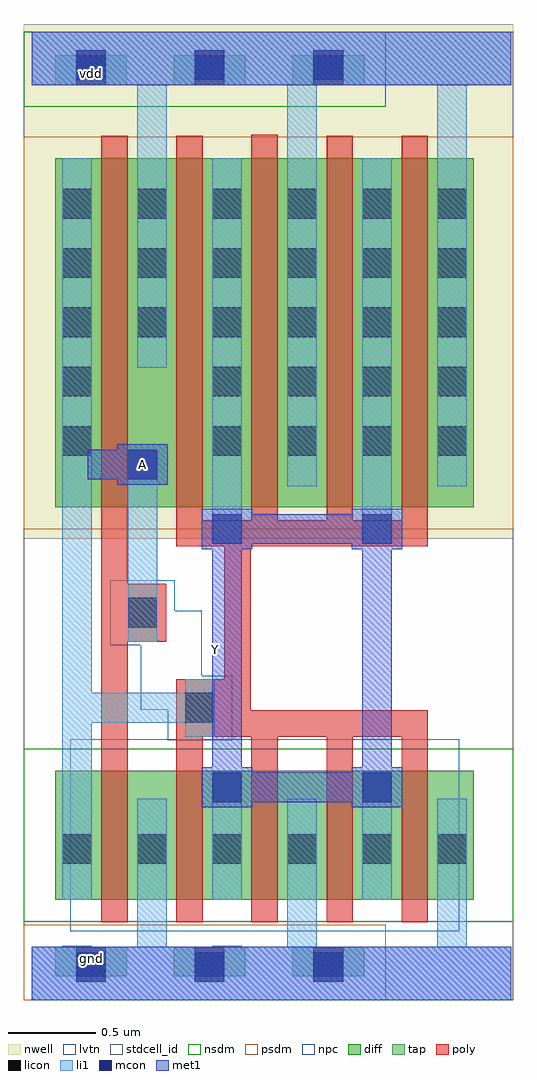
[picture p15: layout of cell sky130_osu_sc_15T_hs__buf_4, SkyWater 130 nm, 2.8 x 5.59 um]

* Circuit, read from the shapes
.subckt sky130_osu_sc_15T_hs__buf_4 A Y gnd vdd
XM1 gnd A n1 gnd sky130_fd_pr__nfet_01v8_lvt w=0.74 l=0.15
XM2 Y n1 gnd gnd sky130_fd_pr__nfet_01v8_lvt w=0.74 l=0.15 m=4
XM3 vdd A n1 vdd sky130_fd_pr__pfet_01v8 w=2 l=0.15
XM4 Y n1 vdd vdd sky130_fd_pr__pfet_01v8 w=2 l=0.15 m=4
.ends

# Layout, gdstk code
import gdstk
lib = gdstk.Library(unit=1e-6, precision=1e-09)
def R(c, l, rs):  # rectangles x0, y0, x1, y1
    for r in rs: c.add(gdstk.rectangle(r[:2], r[2:], *l))
def A(c, l, x, y, w, h, nx, ny, dx, dy):  # array of equal rectangles
    R(c, l, [(x+i*dx, y+j*dy, x+i*dx+w, y+j*dy+h) for i in range(nx) for j in range(ny)])
nwell = (64, 20)
diff = (65, 20)
tap = (65, 44)
poly = (66, 20)
licon = (66, 44)
li1 = (67, 20)
mcon = (67, 44)
met1 = (68, 20)
stdcell_id = (81, 4)
nsdm = (93, 44)
psdm = (94, 20)
npc = (95, 20)
lvtn = (125, 44)

sky130_osu_sc_15t_hs__bu = lib.new_cell('sky130_osu_sc_15T_hs__buf_4')
R(sky130_osu_sc_15t_hs__bu, nwell, [(-0.045,2.645,2.76,5.595)])
R(sky130_osu_sc_15t_hs__bu, diff, [(0.135,0.575,2.535,1.315), (0.135,2.825,2.535,4.825)])
A(sky130_osu_sc_15t_hs__bu, tap, 0.135, 0.135, 0.41, 0.17, 3, 2, 0.68, 5.11)
A(sky130_osu_sc_15t_hs__bu, poly, 0.83, 0.445, 0.15, 1.065, 4, 1, 0.43, 0)
R(sky130_osu_sc_15t_hs__bu, poly, [(0.4,0.445,0.55,2.055), (0.83,1.51,2.27,1.66), (0.83,1.66,1.255,1.84), (1.105,1.84,1.255,2.6), (0.4,2.055,0.77,2.385), (0.4,2.385,0.55,4.955), (0.83,2.6,2.27,2.75), (0.83,2.75,0.98,4.955), (1.26,2.75,1.41,4.96), (1.69,2.75,1.84,4.955), (2.12,2.75,2.27,4.955)])
A(sky130_osu_sc_15t_hs__bu, licon, 0.255, 0.135, 0.17, 0.17, 3, 2, 0.68, 5.11)
A(sky130_osu_sc_15t_hs__bu, licon, 0.175, 0.78, 0.17, 0.17, 6, 2, 0.43, 3.02)
A(sky130_osu_sc_15t_hs__bu, licon, 1.035, 3.12, 0.17, 0.17, 4, 2, 0.43, 0.34)
A(sky130_osu_sc_15t_hs__bu, licon, 0.175, 4.14, 0.17, 0.17, 6, 2, 0.43, 0.34)
R(sky130_osu_sc_15t_hs__bu, licon, [(0.88,1.59,1.05,1.76), (0.55,2.135,0.72,2.305), (0.175,3.12,0.345,3.29), (0.175,3.46,0.345,3.63)])
A(sky130_osu_sc_15t_hs__bu, li1, 0.605, 0.305, 0.17, 0.85, 3, 1, 0.86, 0)
R(sky130_osu_sc_15t_hs__bu, li1, [(0,0,2.75,0.305), (0.175,0.305,0.345,0.31), (1.035,0.305,1.205,0.31), (0.175,0.575,0.345,1.59), (1.035,0.575,1.205,1.305), (1.895,0.575,2.065,1.305), (0.88,1.51,1.05,1.59), (0.175,1.59,1.05,1.76), (0.175,1.76,0.345,4.825), (0.88,1.76,1.05,1.84), (0.55,2.055,0.72,3.155), (1.035,2.615,1.205,4.825), (1.895,2.615,2.065,4.825), (1.465,2.945,1.635,5.245), (2.325,2.945,2.495,5.245), (0.605,3.625,0.775,5.245), (0,5.245,2.75,5.55)])
A(sky130_osu_sc_15t_hs__bu, mcon, 0.255, 0.105, 0.17, 0.17, 3, 2, 0.68, 5.17)
R(sky130_osu_sc_15t_hs__bu, mcon, [(1.035,1.135,1.205,1.305), (1.895,1.135,2.065,1.305), (1.035,2.615,1.205,2.785), (1.895,2.615,2.065,2.785), (0.55,2.985,0.72,3.155)])
R(sky130_osu_sc_15t_hs__bu, met1, [(0,0,2.75,0.305), (0.975,1.105,1.265,1.135), (1.835,1.105,2.125,1.135), (0.975,1.135,2.125,1.305), (0.975,1.305,1.265,1.335), (1.835,1.305,2.125,1.335), (1.035,1.335,1.205,2.585), (1.895,1.335,2.065,2.585), (0.975,2.585,1.265,2.615), (1.835,2.585,2.125,2.615), (0.975,2.615,2.125,2.785), (0.975,2.785,1.265,2.815), (1.835,2.785,2.125,2.815), (0.49,2.955,0.78,2.985), (0.32,2.985,0.78,3.155), (0.49,3.155,0.78,3.185), (0,5.245,2.75,5.55)])
R(sky130_osu_sc_15t_hs__bu, stdcell_id, [(-0.045,0,2.76,5.55)])
R(sky130_osu_sc_15t_hs__bu, nsdm, [(-0.045,0.45,2.76,1.44), (-0.045,5.12,2.03,5.55)])
R(sky130_osu_sc_15t_hs__bu, psdm, [(-0.045,0,2.03,0.43), (-0.045,2.7,2.76,4.95)])
R(sky130_osu_sc_15t_hs__bu, npc, [(0.78,1.49,1.15,1.665), (0.625,1.665,1.15,1.86), (0.625,1.86,0.975,2.035), (0.45,2.035,0.975,2.23), (0.45,2.23,0.82,2.405)])
R(sky130_osu_sc_15t_hs__bu, lvtn, [(0.22,0.395,2.45,1.495)])
sky130_osu_sc_15t_hs__bu.add(gdstk.Label('gnd', (0.34,0.24), layer=68, texttype=16))
sky130_osu_sc_15t_hs__bu.add(gdstk.Label('vdd', (0.34,5.31), layer=68, texttype=16))
sky130_osu_sc_15t_hs__bu.add(gdstk.Label('A', (0.635,3.07), layer=68, texttype=5))
sky130_osu_sc_15t_hs__bu.add(gdstk.Label('Y', (1.055,2.01), layer=68, texttype=5))

lib.write_gds('sky130_osu_sc_15T_hs__buf_4.gds')
